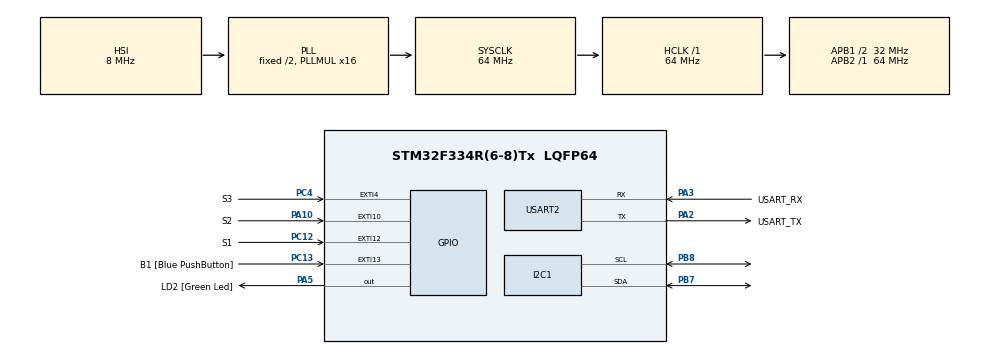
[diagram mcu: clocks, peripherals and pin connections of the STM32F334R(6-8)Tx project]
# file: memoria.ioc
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Mcu.Family=STM32F3
Mcu.Name=STM32F334R(6-8)Tx
Mcu.Package=LQFP64
NVIC.EXTI15_10_IRQn=true\:0\:0\:false\:false\:true\:true\:true
NVIC.EXTI4_IRQn=true\:0\:0\:false\:false\:true\:true\:true
NVIC.PriorityGroup=NVIC_PRIORITYGROUP_0
PA10.GPIO_Label=S2
PA10.Signal=GPXTI10
PA13.GPIO_Label=TMS
PA13.Mode=Serial_Wire
PA13.Signal=SYS_JTMS-SWDIO
PA14.GPIO_Label=TCK
PA14.Mode=Serial_Wire
PA14.Signal=SYS_JTCK-SWCLK
PA2.GPIO_Label=USART_TX
PA2.Mode=Asynchronous
PA2.Signal=USART2_TX
PA3.GPIO_Label=USART_RX
PA3.Mode=Asynchronous
PA3.Signal=USART2_RX
PA5.GPIO_Label=LD2 [Green Led]
PA5.Signal=GPIO_Output
PB3.GPIO_Label=SWO
PB3.Signal=SYS_JTDO-TRACESWO
PB7.Mode=I2C
PB7.Signal=I2C1_SDA
PB8.Mode=I2C
PB8.Signal=I2C1_SCL
PC12.GPIO_Label=S1
PC12.Signal=GPXTI12
PC13.GPIO_Label=B1 [Blue PushButton]
PC13.GPIO_ModeDefaultEXTI=GPIO_MODE_IT_FALLING
PC13.Signal=GPXTI13
PC14\ /\ OSC32_IN.Mode=LSE-External-Oscillator
PC14\ /\ OSC32_IN.Signal=RCC_OSC32_IN
PC15\ /\ OSC32_OUT.GPIO_Label=RCC_OSC32_OUT
PC15\ /\ OSC32_OUT.Mode=LSE-External-Oscillator
PC15\ /\ OSC32_OUT.Signal=RCC_OSC32_OUT
PC4.GPIO_Label=S3
PC4.Signal=GPXTI4
PF0\ /\ OSC_IN.Mode=HSE-External-Clock-Source
PF0\ /\ OSC_IN.Signal=RCC_OSC_IN
PF1\ /\ OSC_OUT.Signal=RCC_OSC_OUT
ProjectManager.HeapSize=0x200
ProjectManager.StackSize=0x400
ProjectManager.TargetToolchain=STM32CubeIDE
RCC.AHBFreq_Value=64000000
RCC.APB1CLKDivider=RCC_HCLK_DIV2
RCC.APB1Freq_Value=32000000
RCC.APB1TimFreq_Value=64000000
RCC.APB2Freq_Value=64000000
RCC.APB2TimFreq_Value=64000000
RCC.CortexFreq_Value=64000000
RCC.FLatency-AdvancedSettings=FLASH_LATENCY_2
RCC.HCLKFreq_Value=64000000
RCC.HSE_VALUE=8000000
RCC.HSI_VALUE=8000000
RCC.PLLMUL=RCC_PLL_MUL16
RCC.SYSCLKFreq_VALUE=64000000
RCC.SYSCLKSourceVirtual=RCC_SYSCLKSOURCE_PLLCLK
USART2.VirtualMode-Asynchronous=VM_ASYNC
board=NUCLEO-F334R8

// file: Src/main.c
/* USER CODE BEGIN Header */
/**
  ******************************************************************************
  * @file           : main.c
  * @brief          : Main program body
  ******************************************************************************
  * @attention
  *
  * <h2><center>&copy; Copyright (c) 2019 STMicroelectronics.
  * All rights reserved.</center></h2>
  *
  * This software component is licensed by ST under BSD 3-Clause license,
  * the "License"; You may not use this file except in compliance with the
  * License. You may obtain a copy of the License at:
  *                        opensource.org/licenses/BSD-3-Clause
  *
  ******************************************************************************
  */
/* USER CODE END Header */

#include "main.h"

/* USER CODE BEGIN PD */
#define EEPROM_ADDRESS 0xA0

/* USER CODE END PD */

I2C_HandleTypeDef hi2c1;

UART_HandleTypeDef huart2;

void SystemClock_Config(void);
static void MX_GPIO_Init(void);
static void MX_USART2_UART_Init(void);
static void MX_I2C1_Init(void);

/* USER CODE BEGIN 0 */
uint8_t endereco[2] = {0,0};
uint8_t datas[5] = {0,0,2,4,6};// Dado para cada posicao de memoria
uint8_t memoria[3] = {0,0,0};
uint8_t teste =0;
int flag = 0;
char result[40];
char result2[40];

/* USER CODE END 0 */

int main(void)
{

  /* MCU Configuration--------------------------------------------------------*/

  /* Reset of all peripherals, Initializes the Flash interface and the Systick. */
  HAL_Init();

  /* Configure the system clock */
  SystemClock_Config();

  /* Initialize all configured peripherals */
  MX_GPIO_Init();
  MX_USART2_UART_Init();
  MX_I2C1_Init();

  /* Infinite loop */
  while (1)
  {

    /* USER CODE BEGIN 3 */
	  HAL_I2C_Master_Transmit(&hi2c1, EEPROM_ADDRESS , datas, 5, 1000);

	  HAL_Delay(500);

	  HAL_I2C_Master_Transmit(&hi2c1, EEPROM_ADDRESS , endereco, 2, 1000);
	  HAL_Delay(500);
//	  HAL_I2C_Master_Receive(&hi2c1, EEPROM_ADDRESS , memoria, 3, 1000);
 	  HAL_I2C_Master_Receive(&hi2c1, EEPROM_ADDRESS , &teste, 1, 1000);

	  sprintf(result,"datas 1: %d\r\ndatas 2: %d\r\ndatas 3: %d\r\n", datas[2],datas[3],datas[4]);
	  HAL_UART_Transmit(&huart2, result, strlen(result), 1000);
	  HAL_Delay(5000);

//	  sprintf(result2,"Memoria 1: %d\r\nMemoria 2: %d\r\nMemoria 3: %d\r\n", memoria[0],memoria[1],memoria[2]);
  	  sprintf(result2,"Memoria 1: %d\r\n", teste);
	  HAL_UART_Transmit(&huart2, result2, strlen(result2), 1000);

	  HAL_Delay(1000);

//	  if(flag == 1) {
//		HAL_I2C_Master_Transmit(&hi2c1, EEPROM_ADDRESS , datas, 5, 1000);
//		flag = 0;
//	  }
  }
  /* USER CODE END 3 */
}

void SystemClock_Config(void)
{
  RCC_OscInitTypeDef RCC_OscInitStruct = {0};
  RCC_ClkInitTypeDef RCC_ClkInitStruct = {0};
  RCC_PeriphCLKInitTypeDef PeriphClkInit = {0};

  /** Initializes the CPU, AHB and APB busses clocks
  */
  RCC_OscInitStruct.OscillatorType = RCC_OSCILLATORTYPE_HSI;
  RCC_OscInitStruct.HSIState = RCC_HSI_ON;
  RCC_OscInitStruct.HSICalibrationValue = RCC_HSICALIBRATION_DEFAULT;
  RCC_OscInitStruct.PLL.PLLState = RCC_PLL_ON;
  RCC_OscInitStruct.PLL.PLLSource = RCC_PLLSOURCE_HSI;
  RCC_OscInitStruct.PLL.PLLMUL = RCC_PLL_MUL16;
  if (HAL_RCC_OscConfig(&RCC_OscInitStruct) != HAL_OK)
  {
    Error_Handler();
  }
  /** Initializes the CPU, AHB and APB busses clocks
  */
  RCC_ClkInitStruct.ClockType = RCC_CLOCKTYPE_HCLK|RCC_CLOCKTYPE_SYSCLK
                              |RCC_CLOCKTYPE_PCLK1|RCC_CLOCKTYPE_PCLK2;
  RCC_ClkInitStruct.SYSCLKSource = RCC_SYSCLKSOURCE_PLLCLK;
  RCC_ClkInitStruct.AHBCLKDivider = RCC_SYSCLK_DIV1;
  RCC_ClkInitStruct.APB1CLKDivider = RCC_HCLK_DIV2;
  RCC_ClkInitStruct.APB2CLKDivider = RCC_HCLK_DIV1;

  if (HAL_RCC_ClockConfig(&RCC_ClkInitStruct, FLASH_LATENCY_2) != HAL_OK)
  {
    Error_Handler();
  }
  PeriphClkInit.PeriphClockSelection = RCC_PERIPHCLK_I2C1;
  PeriphClkInit.I2c1ClockSelection = RCC_I2C1CLKSOURCE_HSI;
  if (HAL_RCCEx_PeriphCLKConfig(&PeriphClkInit) != HAL_OK)
  {
    Error_Handler();
  }
}

static void MX_I2C1_Init(void)
{

  hi2c1.Instance = I2C1;
  hi2c1.Init.Timing = 0x2000090E;
  hi2c1.Init.OwnAddress1 = 0;
  hi2c1.Init.AddressingMode = I2C_ADDRESSINGMODE_7BIT;
  hi2c1.Init.DualAddressMode = I2C_DUALADDRESS_DISABLE;
  hi2c1.Init.OwnAddress2 = 0;
  hi2c1.Init.OwnAddress2Masks = I2C_OA2_NOMASK;
  hi2c1.Init.GeneralCallMode = I2C_GENERALCALL_DISABLE;
  hi2c1.Init.NoStretchMode = I2C_NOSTRETCH_DISABLE;
  if (HAL_I2C_Init(&hi2c1) != HAL_OK)
  {
    Error_Handler();
  }
  /** Configure Analogue filter
  */
  if (HAL_I2CEx_ConfigAnalogFilter(&hi2c1, I2C_ANALOGFILTER_ENABLE) != HAL_OK)
  {
    Error_Handler();
  }
  /** Configure Digital filter
  */
  if (HAL_I2CEx_ConfigDigitalFilter(&hi2c1, 0) != HAL_OK)
  {
    Error_Handler();
  }

}

static void MX_USART2_UART_Init(void)
{

  huart2.Instance = USART2;
  huart2.Init.BaudRate = 38400;
  huart2.Init.WordLength = UART_WORDLENGTH_8B;
  huart2.Init.StopBits = UART_STOPBITS_1;
  huart2.Init.Parity = UART_PARITY_NONE;
  huart2.Init.Mode = UART_MODE_TX_RX;
  huart2.Init.HwFlowCtl = UART_HWCONTROL_NONE;
  huart2.Init.OverSampling = UART_OVERSAMPLING_16;
  huart2.Init.OneBitSampling = UART_ONE_BIT_SAMPLE_DISABLE;
  huart2.AdvancedInit.AdvFeatureInit = UART_ADVFEATURE_NO_INIT;
  if (HAL_UART_Init(&huart2) != HAL_OK)
  {
    Error_Handler();
  }

}

static void MX_GPIO_Init(void)
{
  GPIO_InitTypeDef GPIO_InitStruct = {0};

  /* GPIO Ports Clock Enable */
  __HAL_RCC_GPIOC_CLK_ENABLE();
  __HAL_RCC_GPIOF_CLK_ENABLE();
  __HAL_RCC_GPIOA_CLK_ENABLE();
  __HAL_RCC_GPIOB_CLK_ENABLE();

  /*Configure GPIO pin Output Level */
  HAL_GPIO_WritePin(LD2_GPIO_Port, LD2_Pin, GPIO_PIN_RESET);

  /*Configure GPIO pin : B1_Pin */
  GPIO_InitStruct.Pin = B1_Pin;
  GPIO_InitStruct.Mode = GPIO_MODE_IT_FALLING;
  GPIO_InitStruct.Pull = GPIO_NOPULL;
  HAL_GPIO_Init(B1_GPIO_Port, &GPIO_InitStruct);

  /*Configure GPIO pin : LD2_Pin */
  GPIO_InitStruct.Pin = LD2_Pin;
  GPIO_InitStruct.Mode = GPIO_MODE_OUTPUT_PP;
  GPIO_InitStruct.Pull = GPIO_NOPULL;
  GPIO_InitStruct.Speed = GPIO_SPEED_FREQ_LOW;
  HAL_GPIO_Init(LD2_GPIO_Port, &GPIO_InitStruct);

  /*Configure GPIO pins : S3_Pin S1_Pin */
  GPIO_InitStruct.Pin = S3_Pin|S1_Pin;
  GPIO_InitStruct.Mode = GPIO_MODE_IT_RISING;
  GPIO_InitStruct.Pull = GPIO_NOPULL;
  HAL_GPIO_Init(GPIOC, &GPIO_InitStruct);

  /*Configure GPIO pin : S2_Pin */
  GPIO_InitStruct.Pin = S2_Pin;
  GPIO_InitStruct.Mode = GPIO_MODE_IT_RISING;
  GPIO_InitStruct.Pull = GPIO_NOPULL;
  HAL_GPIO_Init(S2_GPIO_Port, &GPIO_InitStruct);

  /* EXTI interrupt init*/
  HAL_NVIC_SetPriority(EXTI4_IRQn, 0, 0);
  HAL_NVIC_EnableIRQ(EXTI4_IRQn);

  HAL_NVIC_SetPriority(EXTI15_10_IRQn, 0, 0);
  HAL_NVIC_EnableIRQ(EXTI15_10_IRQn);

}

/* USER CODE BEGIN 4 */

void HAL_GPIO_EXTI_Callback(uint16_t GPIO_Pin)
{
	if(GPIO_Pin == B1_Pin){
		datas[2] = 0;
		datas[3] = 0;
		datas[4] = 0;
		HAL_UART_Transmit(&huart2, "Resetado\r\n", 9, 1000);
	}

	if(GPIO_Pin == S1_Pin) {
		datas[2]++;
	}

	if(GPIO_Pin == S2_Pin) {
		datas[3]++;
	}

	if(GPIO_Pin == S3_Pin) {
		datas[4]++;
	}

	flag = 1;
}

/* USER CODE END 4 */

void Error_Handler(void)
{
}

/************************ (C) COPYRIGHT STMicroelectronics *****END OF FILE****/
